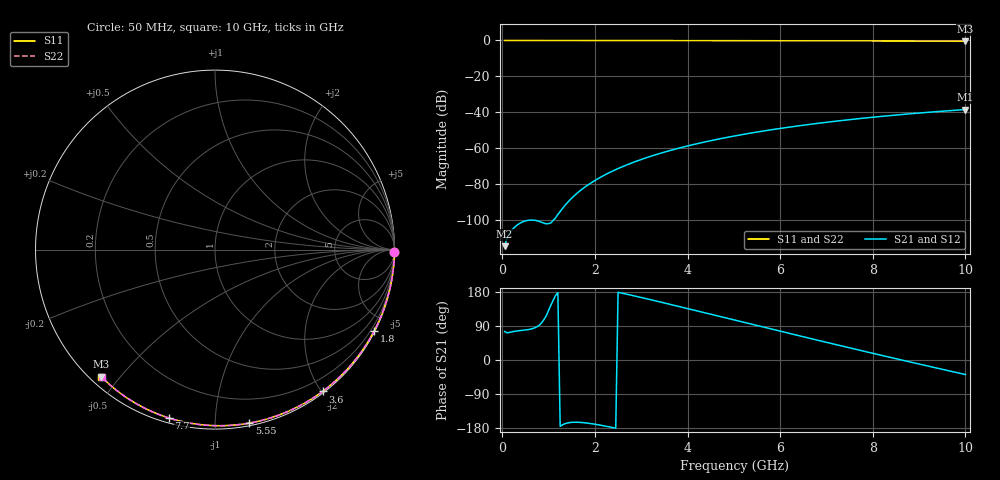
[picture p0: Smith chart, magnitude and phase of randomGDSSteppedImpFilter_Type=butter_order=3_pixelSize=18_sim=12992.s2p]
! freq	dB(S11)	phase(S11)	dB(S12)	phase(S12)
!  dB(S21)	phase(S21)	dB(S22)	phase(S22)
!S-par simulation data
#  GHz  S  DB  R 50
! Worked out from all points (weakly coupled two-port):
!   200 points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, 50 MHz to 10 GHz, reference 50 ohm
!   highest |S21| = -38.50 dB at 10 GHz (marker M1); lowest = -114.7 dB at 50 MHz (marker M2)
!   lowest |S11| = -0.4 dB at 10 GHz (marker M3), VSWR 38.90, Z = 1.54 - j22.4 ohm
!   |S11| at or under -10 dB: nowhere
!   |S22| runs from -0.4 to 0.0 dB; largest |S21 - S12| = 0
!   S11 on the Smith chart (normalised r, x): 50 MHz: open; 1.8 GHz: 0.04, -4.16; 3.6 GHz: 0.02, -2.01; 5.55 GHz: 0.02, -1.22; 7.7 GHz: 0.02, -0.76; 10 GHz: 0.03, -0.45
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0.05  -0.00 -0.8  -114.68 75.3  -114.68 75.3  -0.00 -0.8
0.9  -0.02 -13.6  -101.85 106.8  -101.85 106.8  -0.02 -13.6
1.75  -0.03 -26.3  -82.37 -165.3  -82.37 -165.3  -0.03 -26.2
1.8  -0.03 -27.0  -81.43 -165.9  -81.43 -165.9  -0.03 -26.9
1.85  -0.04 -27.7  -80.53 -166.7  -80.53 -166.7  -0.04 -27.7
1.9  -0.04 -28.5  -79.67 -167.5  -79.67 -167.5  -0.04 -28.4
2.05  -0.04 -30.7  -77.29 -170.5  -77.29 -170.5  -0.04 -30.6
2.25  -0.04 -33.6  -74.47 -175.0  -74.47 -175.0  -0.04 -33.5
2.45  -0.05 -36.5  -71.99 -180.0  -71.99 -180.0  -0.05 -36.4
2.65  -0.05 -39.4  -69.76 174.7  -69.76 174.7  -0.05 -39.3
3  -0.06 -44.4  -66.34 165.0  -66.34 165.0  -0.06 -44.3
3.4  -0.07 -50.0  -63.00 153.4  -63.00 153.4  -0.07 -49.9
3.6  -0.07 -52.8  -61.51 147.6  -61.51 147.6  -0.07 -52.7
4.3  -0.09 -62.4  -57.00 126.8  -57.00 126.8  -0.09 -62.2
5.05  -0.11 -72.4  -53.07 104.3  -53.07 104.3  -0.11 -72.2
5.55  -0.13 -78.9  -50.84 89.4  -50.84 89.4  -0.13 -78.7
6.1  -0.15 -85.8  -48.67 73.1  -48.67 73.1  -0.15 -85.6
6.7  -0.18 -93.3  -46.57 55.4  -46.57 55.4  -0.18 -93.1
7.7  -0.24 -105.3  -43.59 26.3  -43.59 26.3  -0.24 -105.1
8.35  -0.29 -112.9  -41.93 7.7  -41.93 7.7  -0.29 -112.6
9.15  -0.36 -122.1  -40.14 -14.9  -40.14 -14.9  -0.36 -121.8
10  -0.45 -131.8  -38.50 -38.3  -38.50 -38.3  -0.44 -131.4
